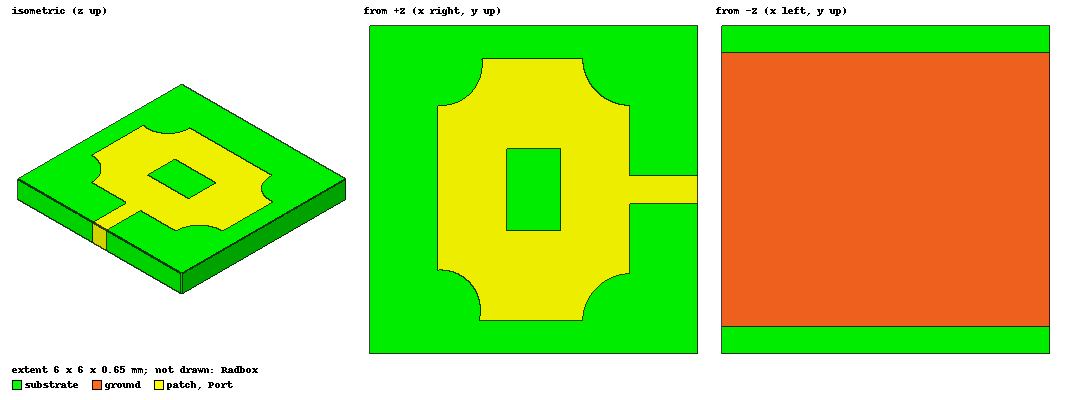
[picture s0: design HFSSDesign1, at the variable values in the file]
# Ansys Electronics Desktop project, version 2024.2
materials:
  vacuum: permittivity=1
  Rogers RT/duroid 5880 (tm): permittivity=2.2 dielectric_loss_tangent=0.0009
  air: permittivity=1.0006 permeability=1.0000004

design HFSSDesign1 (HFSS, HFSS Terminal Network, model units mm)
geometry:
  ground = rectangle(corner=(-3mm, -2.5mm, 0mm), x_size=6mm, y_size=5mm)
  substrate [Rogers RT/duroid 5880 (tm)] = box(corner=(-3mm, -3mm, 0mm), size=(6mm, 6mm, 0.65mm))
  patch = rectangle(corner=(-1.76mm, -2.4mm, 0.65mm), x_size=3.52mm, y_size=4.8mm)
  Feed_line = rectangle(corner=(1mm, -0.25mm, 0.65mm), x_size=2mm, y_size=0.5mm)
  patch.unite(Feed_line)
  Port = rectangle(corner=(3mm, -0.25mm, 0.65mm), y_size=0.5mm, z_size=-0.65mm)
  Slot = rectangle(corner=(-0.5mm, -0.75mm, 0.65mm), x_size=1mm, y_size=1.5mm)
  patch.subtract(Slot)
  Circle1 = circle(normal=Z, centre=(-1.7mm, -2.2mm, 0.65mm), radius=0.72801099mm)
  patch.subtract(Circle1)
  Circle2 = circle(normal=Z, centre=(-1.7mm, 2.3mm, 0.65mm), radius=0.76157731mm)
  patch.subtract(Circle2)
  Circle3 = circle(normal=Z, centre=(1.76mm, -2.4mm, 0.65mm), radius=0.85883642mm)
  patch.subtract(Circle3)
  Circle4 = circle(normal=Z, centre=(1.76mm, 2.4mm, 0.65mm), radius=0.85883642mm)
  patch.subtract(Circle4)
  Radbox [air] = box(corner=(4mm, -4mm, 3mm), size=(-8mm, 8mm, -6mm))
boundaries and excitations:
  PerfE1: Perfect E Objects=[ground, patch]
  Rad1: Radiation Objects=Radbox
  1: Lumped Port Objects=Port LumpedPortType=Modal Modes{Mode1{IntLine{(3, 0, 0) -> (3, 0, 0.65)} CharImp=Zpi RenormImp=50ohm}} Impedance=50ohm
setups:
  Setup1: HfssDriven Frequency=26GHz MaxDeltaS=0.02 MaximumPasses=20 MinimumPasses=1 MinimumConvergedPasses=1 PercentRefinement=30 BasisOrder=1 PortAccuracy=2 DrivenSolverType="Direct Solver"
    sweep Sweep: 20GHz to 32GHz step 0.02GHz; Type=Fast SaveFields
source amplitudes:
  1:1: 1V 0deg
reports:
  S Parameter Plot 1: dB(S(1,1)) vs Freq on Setup1 : Sweep
